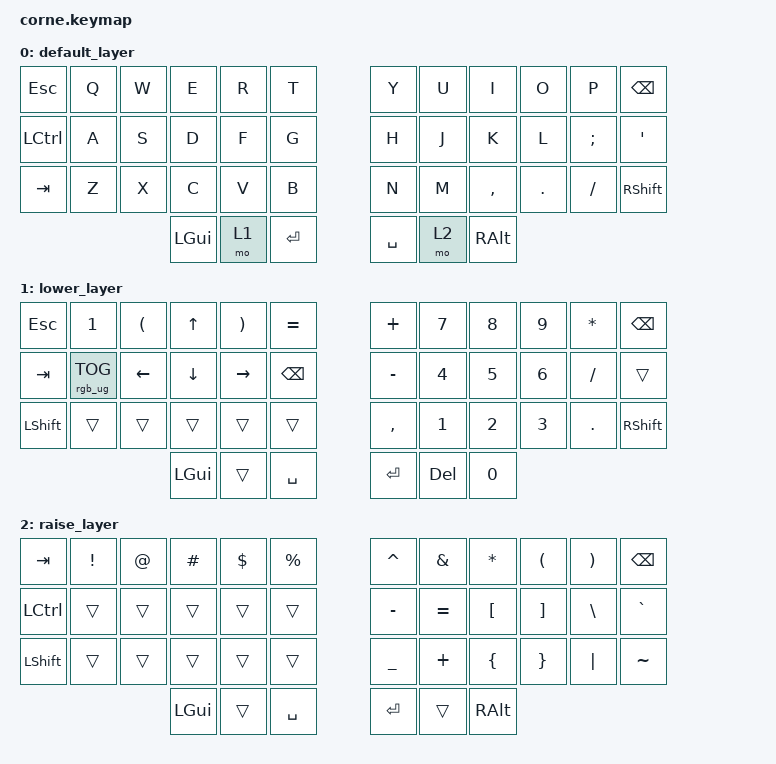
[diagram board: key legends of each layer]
/*
 * Copyright (c) 2020 The ZMK Contributors
 *
 * SPDX-License-Identifier: MIT
 */

#include <behaviors.dtsi>
#include <dt-bindings/zmk/keys.h>
#include <dt-bindings/zmk/rgb.h>

/ {
    keymap {
        compatible = "zmk,keymap";

        default_layer {
            // -----------------------------------------------------------------------------------------
            // |  TAB |  Q  |  W  |  E  |  R  |  T  |   |  Y  |  U   |  I  |  O  |  P  | BKSP |
            // | CTRL |  A  |  S  |  D  |  F  |  G  |   |  H  |  J   |  K  |  L  |  ;  |  '   |
            // | SHFT |  Z  |  X  |  C  |  V  |  B  |   |  N  |  M   |  ,  |  .  |  /  | ESC  |
            //                    | GUI | LWR | SPC |   | ENT | RSE  | ALT |

            bindings = <
&kp ESC    &kp Q  &kp W  &kp E     &kp R  &kp T        &kp Y      &kp U  &kp I      &kp O    &kp P     &kp BSPC
&kp LCTRL  &kp A  &kp S  &kp D     &kp F  &kp G        &kp H      &kp J  &kp K      &kp L    &kp SEMI  &kp SQT
&kp TAB    &kp Z  &kp X  &kp C     &kp V  &kp B        &kp N      &kp M  &kp COMMA  &kp DOT  &kp FSLH  &kp RIGHT_SHIFT
                         &kp LGUI  &mo 1  &kp ENTER    &kp SPACE  &mo 2  &kp RALT
            >;
        };

        lower_layer {
            // -----------------------------------------------------------------------------------------
            // |  TAB |  1  |  2  |  3  |  4  |  5  |   |  6  |  7  |  8  |  9  |  0  | BKSP |
            // | BTCLR| BT1 | BT2 | BT3 | BT4 | BT5 |   | LFT | DWN |  UP | RGT |     |      |
            // | SHFT |     |     |     |     |     |   |     |     |     |     |     |      |
            //                    | GUI |     | SPC |   | ENT |     | ALT |

            bindings = <
&kp ESC    &kp N1           &kp LEFT_PARENTHESIS  &kp UP_ARROW  &kp RIGHT_PARENTHESIS  &kp EQUAL        &kp PLUS   &kp N7        &kp N8        &kp N9        &kp ASTERISK  &kp BSPC
&kp TAB    &rgb_ug RGB_TOG  &kp LEFT_ARROW        &kp DOWN      &kp RIGHT              &kp BACKSPACE    &kp MINUS  &kp NUMBER_4  &kp N5        &kp NUMBER_6  &kp SLASH     &trans
&kp LSHFT  &trans           &trans                &trans        &trans                 &trans           &kp COMMA  &kp NUMBER_1  &kp NUMBER_2  &kp NUMBER_3  &kp PERIOD    &kp RIGHT_SHIFT
                                                  &kp LGUI      &trans                 &kp SPACE        &kp RET    &kp DEL       &kp NUMBER_0
            >;
        };

        raise_layer {
            // -----------------------------------------------------------------------------------------
            // |  TAB |  !  |  @  |  #  |  $  |  %  |   |  ^  |  &  |  *  |  (  |  )  | BKSP |
            // | CTRL |     |     |     |     |     |   |  -  |  =  |  [  |  ]  |  \  |  `   |
            // | SHFT |     |     |     |     |     |   |  _  |  +  |  {  |  }  | "|" |  ~   |
            //                    | GUI |     | SPC |   | ENT |     | ALT |

            bindings = <
&kp TAB    &kp EXCL  &kp AT  &kp HASH  &kp DLLR  &kp PRCNT    &kp CARET  &kp AMPS   &kp ASTRK  &kp LPAR  &kp RPAR  &kp BSPC
&kp LCTRL  &trans    &trans  &trans    &trans    &trans       &kp MINUS  &kp EQUAL  &kp LBKT   &kp RBKT  &kp BSLH  &kp GRAVE
&kp LSHFT  &trans    &trans  &trans    &trans    &trans       &kp UNDER  &kp PLUS   &kp LBRC   &kp RBRC  &kp PIPE  &kp TILDE
                             &kp LGUI  &trans    &kp SPACE    &kp RET    &trans     &kp RALT
            >;
        };
    };
};
